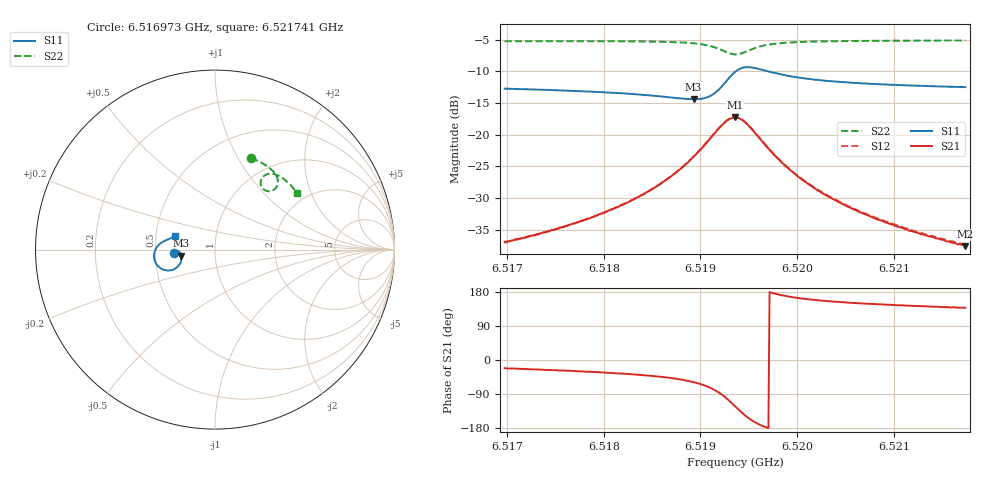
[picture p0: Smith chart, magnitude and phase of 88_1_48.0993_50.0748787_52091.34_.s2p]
#  HZ  S  RI  R  50.00
! Rohde & Schwarz Vector Network Analyzer
! Rohde-Schwarz,ZNB20-2Port,1311601062101988,3.16
! Created: UTC 12/23/2023, 3:43:28 AM
! freq[Hz]  re:S11  im:S11  re:S21  im:S21  re:S12  im:S12  re:S22  im:S22
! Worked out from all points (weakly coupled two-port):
!   401 points, 6.516973 GHz to 6.521741 GHz, reference 50 ohm
!   highest |S21| = -17.27 dB at 6.519357 GHz (marker M1); lowest = -37.6 dB at 6.521741 GHz (marker M2)
!   lowest |S11| = -14.4 dB at 6.518928 GHz (marker M3), VSWR 1.47, Z = 34.1 - j2.42 ohm
!   |S11| at or under -10 dB: start of sweep to 6.519363 GHz; 6.519705 GHz to end of sweep
!   |S22| runs from -7.3 to -5.1 dB; largest |S21 - S12| = 0.0042
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6.5169731e9  -0.2307 -0.0178  0.0133 -0.00521  0.0131 -0.00482  0.2016 0.5099
6.5174141e9  -0.2258 -0.0114  0.0154 -0.0076  0.0156 -0.0071  0.2342 0.4962
6.5177717e9  -0.2206 -0.00718  0.018 -0.0104  0.0184 -0.0099  0.2606 0.4828
6.5182127e9  -0.2119 -0.00503  0.0229 -0.017  0.0235 -0.0161  0.2937 0.4623
6.5185703e9  -0.2014 -0.00964  0.0289 -0.0279  0.0299 -0.027  0.3216 0.4388
6.518773e9  -0.1935 -0.019  0.0333 -0.0402  0.0346 -0.0396  0.3373 0.4194
6.5189279e9  -0.1877 -0.0342  0.0351 -0.057  0.037 -0.0563  0.3474 0.3982
6.5190352e9  -0.1869 -0.0527  0.0325 -0.075  0.0352 -0.0747  0.3506 0.3778
6.5191306e9  -0.1942 -0.0767  0.0222 -0.0969  0.0254 -0.0969  0.3458 0.3549
6.5192617e9  -0.2366 -0.1125  -0.021 -0.1252  -0.0176 -0.127  0.313 0.3266
6.519357e9  -0.294 -0.109  -0.0725 -0.1162  -0.0696 -0.1192  0.2735 0.3338
6.5194047e9  -0.3188 -0.0905  -0.0925 -0.0974  -0.0904 -0.1008  0.2596 0.3498
6.5194643e9  -0.3363 -0.0593  -0.1046 -0.0684  -0.1035 -0.0717  0.2541 0.3737
6.5195716e9  -0.3356 -0.00938  -0.0986 -0.0255  -0.0985 -0.0287  0.2684 0.4064
6.5196789e9  -0.3194 0.0199  -0.0813 -0.00331  -0.082 -0.00571  0.2913 0.4204
6.5198934e9  -0.2901 0.044  -0.0543 0.0111  -0.0552 0.00984  0.3286 0.4213
6.5201557e9  -0.2686 0.0542  -0.0364 0.0137  -0.0372 0.013  0.3589 0.4095
6.5203583e9  -0.258 0.0585  -0.0284 0.0134  -0.0291 0.0129  0.3768 0.3982
6.5205609e9  -0.2503 0.0617  -0.0229 0.0129  -0.0236 0.0122  0.3919 0.3867
6.5209543e9  -0.2394 0.0676  -0.0164 0.0111  -0.0169 0.0109  0.4172 0.3633
6.5212165e9  -0.2338 0.0712  -0.0136 0.0103  -0.0141 0.0101  0.4319 0.3475
6.521741e9  -0.2245 0.0785  -0.00979 0.0088  -0.0103 0.00879  0.4583 0.3152
